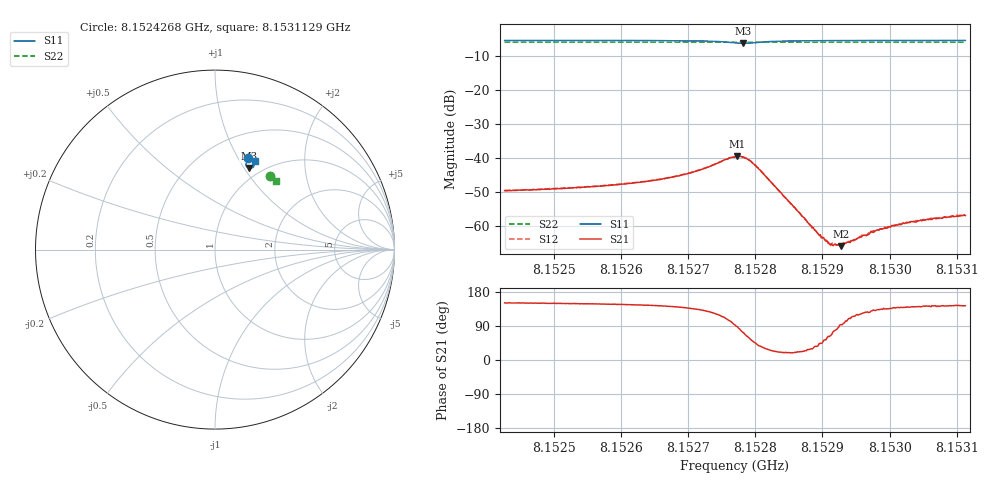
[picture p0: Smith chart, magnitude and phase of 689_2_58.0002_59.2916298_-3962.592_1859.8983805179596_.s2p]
#  HZ  S  RI  R  50.00
! Rohde & Schwarz Vector Network Analyzer
! Rohde-Schwarz,ZNB20-2Port,1311601062101988,3.16
! Created: UTC 3/21/2024, 1:21:11 AM
! freq[Hz]  re:S11  im:S11  re:S21  im:S21  re:S12  im:S12  re:S22  im:S22
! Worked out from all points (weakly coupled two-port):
!   401 points, 8.1524268 GHz to 8.1531129 GHz, reference 50 ohm
!   highest |S21| = -39.38 dB at 8.1527733 GHz (marker M1); lowest = -65.9 dB at 8.1529276 GHz (marker M2)
!   lowest |S11| = -6.2 dB at 8.1527818 GHz (marker M3), VSWR 2.93, Z = 43.9 + j52.4 ohm
!   |S11| at or under -10 dB: nowhere
!   |S22| runs from -5.9 to -5.8 dB; largest |S21 - S12| = 0.00043
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8.15242678e9  0.1858 0.5077  -0.00292 0.00163  -0.0029 0.00168  0.3075 0.4085
8.1525417e9  0.1953 0.5039  -0.00318 0.00195  -0.00319 0.00202  0.3133 0.4038
8.15261031e9  0.2018 0.5008  -0.00352 0.00237  -0.0035 0.00243  0.3168 0.401
8.15265662e9  0.2072 0.4975  -0.0039 0.00292  -0.00386 0.00301  0.3191 0.3991
8.15270294e9  0.2139 0.4907  -0.0044 0.00417  -0.0044 0.00427  0.3213 0.397
8.15275954e9  0.2148 0.4619  -0.00267 0.00945  -0.00253 0.00956  0.3235 0.3937
8.15276983e9  0.2054 0.454  -0.000434 0.0105  -0.000219 0.0106  0.3235 0.3931
8.15277326e9  0.2009 0.4526  0.000367 0.0107  0.000792 0.0107  0.3235 0.3929
8.15278184e9  0.1882 0.4532  0.00309 0.00997  0.00325 0.00994  0.3236 0.3928
8.15279041e9  0.1778 0.4605  0.00492 0.00811  0.00516 0.00787  0.3236 0.3929
8.15280414e9  0.1726 0.4764  0.0056 0.00455  0.00561 0.00451  0.3243 0.3932
8.15288475e9  0.1964 0.4993  0.000824 0.000456  0.00084 0.000504  0.3291 0.3903
8.15289504e9  0.1984 0.4993  0.000542 0.000498  0.000572 0.000521  0.3298 0.3898
8.15290877e9  0.2006 0.4993  0.000268 0.000516  0.000278 0.000479  0.3305 0.3892
8.15291391e9  0.2015 0.4991  0.000206 0.000504  0.000203 0.000523  0.3308 0.3889
8.15292763e9  0.2035 0.4988  -2.99e-05 0.000508  -2.69e-05 0.000528  0.3314 0.3884
8.15294993e9  0.2062 0.4984  -0.000302 0.00056  -0.000287 0.000576  0.3325 0.3875
8.15297566e9  0.2092 0.4977  -0.000543 0.000602  -0.00055 0.000665  0.3338 0.3863
8.15299967e9  0.2117 0.4971  -0.000708 0.000688  -0.000704 0.000694  0.3349 0.3853
8.15303055e9  0.2146 0.4963  -0.000882 0.000753  -0.000871 0.000742  0.3365 0.3839
8.15306142e9  0.2171 0.4952  -0.000966 0.000805  -0.00103 0.000828  0.3379 0.3827
8.15311288e9  0.2212 0.4939  -0.00115 0.000859  -0.00118 0.000878  0.3404 0.3803
